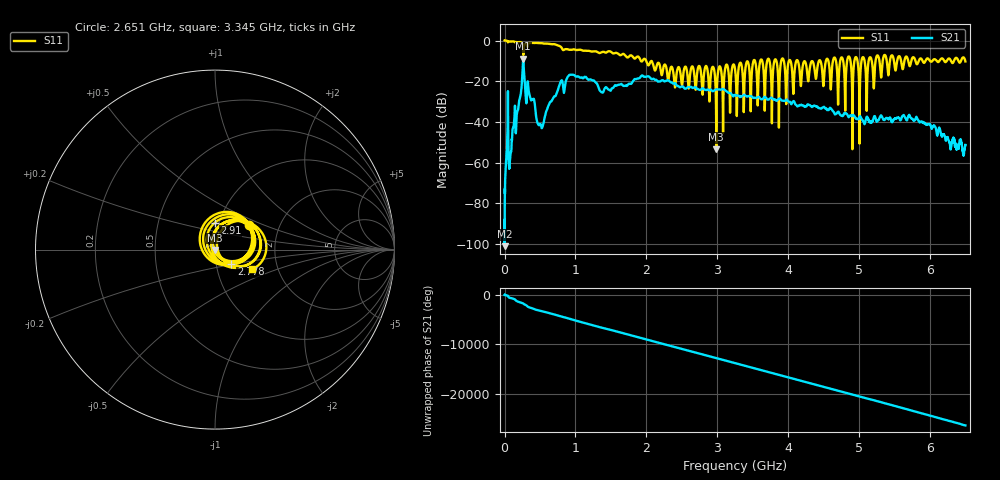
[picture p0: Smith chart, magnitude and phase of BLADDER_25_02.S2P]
!Keysight Technologies,E5063A,MY54503115,A.05.08
!Date: Sun Feb 04 18:18:13 2024
!Data & Calibration Information:
!Freq	S11:NONE(--)	S21:NONE(--)	S12:NONE(--)	S22:NONE(--)
# Hz S dB R 50
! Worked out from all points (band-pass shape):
!   10001 points, 100 kHz to 6.5 GHz, reference 50 ohm
!   highest |S21| = -8.86 dB at 262.7 MHz (marker M1); lowest = -101.0 dB at 750 kHz (marker M2)
!   |S21| within 3 dB of the highest: 257.2 MHz to 267.5 MHz (10.28 MHz wide, 3.92 % of centre)
!   lowest |S11| = -53.4 dB at 2.986 GHz (marker M3), VSWR 1.00, Z = 49.9 - j0.157 ohm
!   |S11| at or under -10 dB: 1.997 GHz to 3.511 GHz (1.513 GHz wide, 54.9 % of centre); 4.033 GHz to 4.115 GHz (81.81 MHz wide, 2.01 % of centre); 4.136 GHz to 4.434 GHz (297.6 MHz wide, 6.95 % of centre) (the widest 3 of 30)
!   S12 and S22 are empty: the file has one direction only
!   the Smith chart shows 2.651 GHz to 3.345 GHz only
!   S11 on the Smith chart (normalised r, x): 2.651 GHz: 1.40, +0.40; 2.778 GHz: 1.18, -0.20; 2.91 GHz: 0.95, +0.29; 3.345 GHz: 1.48, -0.34
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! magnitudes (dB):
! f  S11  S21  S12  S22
! 100 kHz  0.0  -88.1  -  -
! 750 kHz  0.0  -101.0  -  -
! 36.5 MHz  -0.2  -48.6  -  -
! 87.2 MHz  -0.5  -55.0  -  -
! 262.7 MHz  -6.9  -8.9  -  -
! 511 MHz  -1.2  -41.3  -  -
! 787.2 MHz  -2.9  -20.4  -  -
! 1.084 GHz  -4.7  -18.1  -  -
! 1.37 GHz  -5.8  -25.4  -  -
! 2.167 GHz  -10.9  -20.2  -  -
! 2.651 GHz  -12.7  -23.3  -  -
! 2.778 GHz  -18.3  -23.8  -  -
! 2.91 GHz  -16.5  -24.1  -  -
! 2.986 GHz  -53.4  -24.0  -  -
! 3.034 GHz  -12.6  -24.0  -  -
! 3.077 GHz  -28.3  -23.7  -  -
! 3.13 GHz  -11.8  -25.0  -  -
! 3.25 GHz  -14.0  -26.6  -  -
! 3.345 GHz  -12.6  -27.4  -  -
! 4.334 GHz  -10.1  -32.7  -  -
! 5.417 GHz  -16.4  -38.5  -  -
! 6.5 GHz  -10.3  -51.3  -  -
